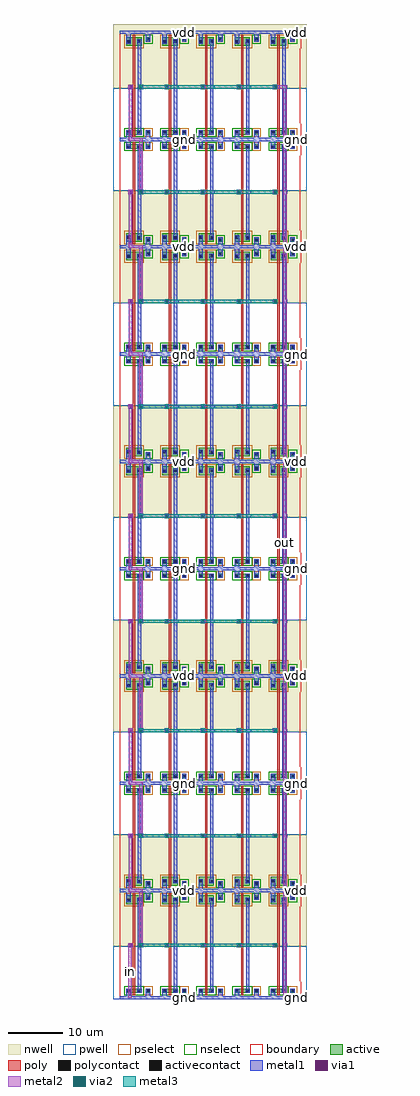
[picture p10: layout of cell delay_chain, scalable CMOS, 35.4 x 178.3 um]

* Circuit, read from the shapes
.subckt delay_chain gnd in out vdd
M1 pinv_12_1/A in gnd gnd nfet w=0.8u l=0.4u
M2 pinv_12_10/A pinv_12_1/A gnd gnd nfet w=0.8u l=0.4u
M3 pinv_12_11/A pinv_12_10/A gnd gnd nfet w=0.8u l=0.4u
M4 pinv_12_16/A pinv_12_11/A gnd gnd nfet w=0.8u l=0.4u
M5 pinv_12_21/A pinv_12_16/A gnd gnd nfet w=0.8u l=0.4u
M6 pinv_12_26/A pinv_12_21/A gnd gnd nfet w=0.8u l=0.4u
M7 pinv_12_31/A pinv_12_26/A gnd gnd nfet w=0.8u l=0.4u
M8 pinv_12_36/A pinv_12_31/A gnd gnd nfet w=0.8u l=0.4u
M9 out pinv_12_36/A gnd gnd nfet w=0.8u l=0.4u
M10 pinv_12_1/Z pinv_12_1/A gnd gnd nfet w=0.8u l=0.4u
M11 pinv_12_6/Z pinv_12_10/A gnd gnd nfet w=0.8u l=0.4u
M12 pinv_12_11/Z pinv_12_11/A gnd gnd nfet w=0.8u l=0.4u
M13 pinv_12_16/Z pinv_12_16/A gnd gnd nfet w=0.8u l=0.4u
M14 pinv_12_21/Z pinv_12_21/A gnd gnd nfet w=0.8u l=0.4u
M15 pinv_12_26/Z pinv_12_26/A gnd gnd nfet w=0.8u l=0.4u
M16 pinv_12_31/Z pinv_12_31/A gnd gnd nfet w=0.8u l=0.4u
M17 pinv_12_36/Z pinv_12_36/A gnd gnd nfet w=0.8u l=0.4u
M18 pinv_12_41/Z out gnd gnd nfet w=0.8u l=0.4u
M19 pinv_12_2/Z pinv_12_1/A gnd gnd nfet w=0.8u l=0.4u
M20 pinv_12_7/Z pinv_12_10/A gnd gnd nfet w=0.8u l=0.4u
M21 pinv_12_12/Z pinv_12_11/A gnd gnd nfet w=0.8u l=0.4u
M22 pinv_12_17/Z pinv_12_16/A gnd gnd nfet w=0.8u l=0.4u
M23 pinv_12_22/Z pinv_12_21/A gnd gnd nfet w=0.8u l=0.4u
M24 pinv_12_27/Z pinv_12_26/A gnd gnd nfet w=0.8u l=0.4u
M25 pinv_12_32/Z pinv_12_31/A gnd gnd nfet w=0.8u l=0.4u
M26 pinv_12_37/Z pinv_12_36/A gnd gnd nfet w=0.8u l=0.4u
M27 pinv_12_42/Z out gnd gnd nfet w=0.8u l=0.4u
M28 pinv_12_3/Z pinv_12_1/A gnd gnd nfet w=0.8u l=0.4u
M29 pinv_12_8/Z pinv_12_10/A gnd gnd nfet w=0.8u l=0.4u
M30 pinv_12_13/Z pinv_12_11/A gnd gnd nfet w=0.8u l=0.4u
M31 pinv_12_18/Z pinv_12_16/A gnd gnd nfet w=0.8u l=0.4u
M32 pinv_12_23/Z pinv_12_21/A gnd gnd nfet w=0.8u l=0.4u
M33 pinv_12_28/Z pinv_12_26/A gnd gnd nfet w=0.8u l=0.4u
M34 pinv_12_33/Z pinv_12_31/A gnd gnd nfet w=0.8u l=0.4u
M35 pinv_12_38/Z pinv_12_36/A gnd gnd nfet w=0.8u l=0.4u
M36 pinv_12_43/Z out gnd gnd nfet w=0.8u l=0.4u
M37 pinv_12_4/Z pinv_12_1/A gnd gnd nfet w=0.8u l=0.4u
M38 pinv_12_9/Z pinv_12_10/A gnd gnd nfet w=0.8u l=0.4u
M39 pinv_12_14/Z pinv_12_11/A gnd gnd nfet w=0.8u l=0.4u
M40 pinv_12_19/Z pinv_12_16/A gnd gnd nfet w=0.8u l=0.4u
M41 pinv_12_24/Z pinv_12_21/A gnd gnd nfet w=0.8u l=0.4u
M42 pinv_12_29/Z pinv_12_26/A gnd gnd nfet w=0.8u l=0.4u
M43 pinv_12_34/Z pinv_12_31/A gnd gnd nfet w=0.8u l=0.4u
M44 pinv_12_39/Z pinv_12_36/A gnd gnd nfet w=0.8u l=0.4u
M45 pinv_12_44/Z out gnd gnd nfet w=0.8u l=0.4u
M46 pinv_12_1/A in vdd vdd pfet w=1.6u l=0.4u
M47 pinv_12_10/A pinv_12_1/A vdd vdd pfet w=1.6u l=0.4u
M48 pinv_12_11/A pinv_12_10/A vdd vdd pfet w=1.6u l=0.4u
M49 pinv_12_16/A pinv_12_11/A vdd vdd pfet w=1.6u l=0.4u
M50 pinv_12_21/A pinv_12_16/A vdd vdd pfet w=1.6u l=0.4u
M51 pinv_12_26/A pinv_12_21/A vdd vdd pfet w=1.6u l=0.4u
M52 pinv_12_31/A pinv_12_26/A vdd vdd pfet w=1.6u l=0.4u
M53 pinv_12_36/A pinv_12_31/A vdd vdd pfet w=1.6u l=0.4u
M54 out pinv_12_36/A vdd vdd pfet w=1.6u l=0.4u
M55 pinv_12_1/Z pinv_12_1/A vdd vdd pfet w=1.6u l=0.4u
M56 pinv_12_6/Z pinv_12_10/A vdd vdd pfet w=1.6u l=0.4u
M57 pinv_12_11/Z pinv_12_11/A vdd vdd pfet w=1.6u l=0.4u
M58 pinv_12_16/Z pinv_12_16/A vdd vdd pfet w=1.6u l=0.4u
M59 pinv_12_21/Z pinv_12_21/A vdd vdd pfet w=1.6u l=0.4u
M60 pinv_12_26/Z pinv_12_26/A vdd vdd pfet w=1.6u l=0.4u
M61 pinv_12_31/Z pinv_12_31/A vdd vdd pfet w=1.6u l=0.4u
M62 pinv_12_36/Z pinv_12_36/A vdd vdd pfet w=1.6u l=0.4u
M63 pinv_12_41/Z out vdd vdd pfet w=1.6u l=0.4u
M64 pinv_12_2/Z pinv_12_1/A vdd vdd pfet w=1.6u l=0.4u
M65 pinv_12_7/Z pinv_12_10/A vdd vdd pfet w=1.6u l=0.4u
M66 pinv_12_12/Z pinv_12_11/A vdd vdd pfet w=1.6u l=0.4u
M67 pinv_12_17/Z pinv_12_16/A vdd vdd pfet w=1.6u l=0.4u
M68 pinv_12_22/Z pinv_12_21/A vdd vdd pfet w=1.6u l=0.4u
M69 pinv_12_27/Z pinv_12_26/A vdd vdd pfet w=1.6u l=0.4u
M70 pinv_12_32/Z pinv_12_31/A vdd vdd pfet w=1.6u l=0.4u
M71 pinv_12_37/Z pinv_12_36/A vdd vdd pfet w=1.6u l=0.4u
M72 pinv_12_42/Z out vdd vdd pfet w=1.6u l=0.4u
M73 pinv_12_3/Z pinv_12_1/A vdd vdd pfet w=1.6u l=0.4u
M74 pinv_12_8/Z pinv_12_10/A vdd vdd pfet w=1.6u l=0.4u
M75 pinv_12_13/Z pinv_12_11/A vdd vdd pfet w=1.6u l=0.4u
M76 pinv_12_18/Z pinv_12_16/A vdd vdd pfet w=1.6u l=0.4u
M77 pinv_12_23/Z pinv_12_21/A vdd vdd pfet w=1.6u l=0.4u
M78 pinv_12_28/Z pinv_12_26/A vdd vdd pfet w=1.6u l=0.4u
M79 pinv_12_33/Z pinv_12_31/A vdd vdd pfet w=1.6u l=0.4u
M80 pinv_12_38/Z pinv_12_36/A vdd vdd pfet w=1.6u l=0.4u
M81 pinv_12_43/Z out vdd vdd pfet w=1.6u l=0.4u
M82 pinv_12_4/Z pinv_12_1/A vdd vdd pfet w=1.6u l=0.4u
M83 pinv_12_9/Z pinv_12_10/A vdd vdd pfet w=1.6u l=0.4u
M84 pinv_12_14/Z pinv_12_11/A vdd vdd pfet w=1.6u l=0.4u
M85 pinv_12_19/Z pinv_12_16/A vdd vdd pfet w=1.6u l=0.4u
M86 pinv_12_24/Z pinv_12_21/A vdd vdd pfet w=1.6u l=0.4u
M87 pinv_12_29/Z pinv_12_26/A vdd vdd pfet w=1.6u l=0.4u
M88 pinv_12_34/Z pinv_12_31/A vdd vdd pfet w=1.6u l=0.4u
M89 pinv_12_39/Z pinv_12_36/A vdd vdd pfet w=1.6u l=0.4u
M90 pinv_12_44/Z out vdd vdd pfet w=1.6u l=0.4u
.ends

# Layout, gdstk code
import gdstk
lib = gdstk.Library(unit=1e-6, precision=1e-09)
def R(c, l, rs):  # rectangles x0, y0, x1, y1
    for r in rs: c.add(gdstk.rectangle(r[:2], r[2:], *l))
def A(c, l, x, y, w, h, nx, ny, dx, dy):  # array of equal rectangles
    R(c, l, [(x+i*dx, y+j*dy, x+i*dx+w, y+j*dy+h) for i in range(nx) for j in range(ny)])
pwell = (41, 0)
nwell = (42, 0)
active = (43, 0)
pselect = (44, 0)
nselect = (45, 0)
poly = (46, 0)
polycontact = (47, 0)
activecontact = (48, 0)
metal1 = (49, 0)
via1 = (50, 0)
metal2 = (51, 0)
via2 = (61, 0)
metal3 = (62, 0)
boundary = (63, 0)

contact_9 = lib.new_cell('contact_9')
R(contact_9, nwell, [(-1.2,-1.2,2,2)])
R(contact_9, active, [(0,0,0.8,0.8)])
R(contact_9, pselect, [(-0.4,-0.4,1.2,1.2)])
R(contact_9, activecontact, [(0.2,0.2,0.6,0.6)])
R(contact_9, metal1, [(0,0,0.8,0.8)])
R(contact_9, boundary, [(-1.2,-1.2,2,2)])

pmos_m1_w1_600_sm1_dm1_d = lib.new_cell('pmos_m1_w1_600_sm1_dm1_da_p')
R(pmos_m1_w1_600_sm1_dm1_d, nwell, [(-1.2,-1.2,4,2.8)])
R(pmos_m1_w1_600_sm1_dm1_d, active, [(0,0,2.8,1.6)])
R(pmos_m1_w1_600_sm1_dm1_d, pselect, [(-0.4,-0.4,3.2,2)])
R(pmos_m1_w1_600_sm1_dm1_d, poly, [(1.2,-0.4,1.6,2), (1.2,-0.4,1.6,2)])
R(pmos_m1_w1_600_sm1_dm1_d, metal1, [(0,0.4,0.8,1.2), (2,0.4,2.8,1.2)])
R(pmos_m1_w1_600_sm1_dm1_d, boundary, [(-1.2,-1.2,4,2.8)])
pmos_m1_w1_600_sm1_dm1_d.add(gdstk.Reference(contact_9, (0,0.4)))
pmos_m1_w1_600_sm1_dm1_d.add(gdstk.Reference(contact_9, (2,0.4)))
pmos_m1_w1_600_sm1_dm1_d.add(gdstk.Label('G', (1.4,0.8), layer=46, texttype=0))
pmos_m1_w1_600_sm1_dm1_d.add(gdstk.Label('S', (0.4,0.8), layer=49, texttype=0))
pmos_m1_w1_600_sm1_dm1_d.add(gdstk.Label('D', (2.4,0.8), layer=49, texttype=0))

contact_14 = lib.new_cell('contact_14')
R(contact_14, pwell, [(-1.2,-1.2,2,2)])
R(contact_14, active, [(0,0,0.8,0.8)])
R(contact_14, nselect, [(-0.4,-0.4,1.2,1.2)])
R(contact_14, activecontact, [(0.2,0.2,0.6,0.6)])
R(contact_14, metal1, [(0,0,0.8,0.8)])
R(contact_14, boundary, [(-1.2,-1.2,2,2)])

nmos_m1_w0_800_sm1_dm1_d = lib.new_cell('nmos_m1_w0_800_sm1_dm1_da_p')
R(nmos_m1_w0_800_sm1_dm1_d, pwell, [(-1.2,-1.2,4,2)])
R(nmos_m1_w0_800_sm1_dm1_d, active, [(0,0,2.8,0.8)])
R(nmos_m1_w0_800_sm1_dm1_d, nselect, [(-0.4,-0.4,3.2,1.2)])
R(nmos_m1_w0_800_sm1_dm1_d, poly, [(1.2,-0.4,1.6,1.2), (1.2,-0.4,1.6,1.2)])
R(nmos_m1_w0_800_sm1_dm1_d, metal1, [(0,0,0.8,0.8), (2,0,2.8,0.8)])
R(nmos_m1_w0_800_sm1_dm1_d, boundary, [(-1.2,-1.2,4,2)])
nmos_m1_w0_800_sm1_dm1_d.add(gdstk.Reference(contact_14, (0,0)))
nmos_m1_w0_800_sm1_dm1_d.add(gdstk.Reference(contact_14, (2,0)))
nmos_m1_w0_800_sm1_dm1_d.add(gdstk.Label('G', (1.4,0.4), layer=46, texttype=0))
nmos_m1_w0_800_sm1_dm1_d.add(gdstk.Label('S', (0.4,0.4), layer=49, texttype=0))
nmos_m1_w0_800_sm1_dm1_d.add(gdstk.Label('D', (2.4,0.4), layer=49, texttype=0))

contact_15 = lib.new_cell('contact_15')
R(contact_15, nwell, [(-1.2,-1.2,2,2)])
R(contact_15, active, [(0,0,0.8,0.8)])
R(contact_15, nselect, [(-0.4,-0.4,1.2,1.2)])
R(contact_15, activecontact, [(0.2,0.2,0.6,0.6)])
R(contact_15, metal1, [(0,0,0.8,0.8)])
R(contact_15, boundary, [(-1.2,-1.2,2,2)])

contact_16 = lib.new_cell('contact_16')
R(contact_16, pwell, [(-1.2,-1.2,2,2)])
R(contact_16, active, [(0,0,0.8,0.8)])
R(contact_16, pselect, [(-0.4,-0.4,1.2,1.2)])
R(contact_16, activecontact, [(0.2,0.2,0.6,0.6)])
R(contact_16, metal1, [(0,0,0.8,0.8)])
R(contact_16, boundary, [(-1.2,-1.2,2,2)])

contact_10 = lib.new_cell('contact_10')
R(contact_10, poly, [(0,0,0.8,0.8)])
R(contact_10, polycontact, [(0.2,0.2,0.6,0.6)])
R(contact_10, metal1, [(0,0,0.8,0.8)])
R(contact_10, boundary, [(0,0,0.8,0.8)])

pinv_12 = lib.new_cell('pinv_12')
R(pinv_12, pwell, [(-1.2,-0.3,7.8,9.4)])
R(pinv_12, nwell, [(-1.2,9.4,7.8,21.1)])
R(pinv_12, poly, [(2.4,2.1,2.8,16.7), (2,9.2,2.4,10)])
R(pinv_12, metal1, [(0,-0.3,6.6,0.3), (1.2,-0.3,2,0.9), (4.8,0,5.6,1.3), (3.3,0.9,3.9,18.3), (1.6,9.2,2.4,10), (3.6,9.3,4.2,9.9), (1.2,17.5,2,19.9), (4.8,18.3,5.6,19.6), (0,19.3,6.6,19.9)])
R(pinv_12, boundary, [(0,0,6.6,19.6), (0,0,6.6,19.6)])
pinv_12.add(gdstk.Reference(pmos_m1_w1_600_sm1_dm1_d, (1.2,17.1)))
pinv_12.add(gdstk.Reference(nmos_m1_w0_800_sm1_dm1_d, (1.2,0.9)))
pinv_12.add(gdstk.Reference(contact_15, (4.8,17.9)))
pinv_12.add(gdstk.Reference(contact_16, (4.8,0.9)))
pinv_12.add(gdstk.Reference(contact_10, (1.6,9.2)))
pinv_12.add(gdstk.Label('A', (2,9.6), layer=49, texttype=0))
pinv_12.add(gdstk.Label('Z', (3.9,9.6), layer=49, texttype=0))
pinv_12.add(gdstk.Label('gnd', (3.3,0), layer=49, texttype=0))
pinv_12.add(gdstk.Label('vdd', (3.3,19.6), layer=49, texttype=0))

contact_6 = lib.new_cell('contact_6')
R(contact_6, metal1, [(0,0,0.8,0.8)])
R(contact_6, via1, [(0.2,0.2,0.6,0.6)])
R(contact_6, metal2, [(0,0,0.8,0.8)])
R(contact_6, boundary, [(0,0,0.8,0.8)])

contact_7 = lib.new_cell('contact_7')
R(contact_7, metal2, [(0,0,0.8,0.8)])
R(contact_7, via2, [(0.2,0.2,0.6,0.6)])
R(contact_7, metal3, [(0,0,0.8,0.8)])
R(contact_7, boundary, [(0,0,0.8,0.8)])

delay_chain = lib.new_cell('delay_chain')
A(delay_chain, metal2, 3.6, 9.6, 0.6, 10, 1, 4, 0, 39.2)
A(delay_chain, metal2, 1.7, 19.3, 0.6, 0.6, 1, 8, 0, 19.6)
A(delay_chain, metal2, 2, 19.3, 1.9, 0.6, 1, 8, 0, 19.6)
A(delay_chain, metal2, 3.6, 19.3, 0.6, 0.6, 1, 8, 0, 19.6)
A(delay_chain, metal2, 1.7, 19.6, 0.6, 10, 1, 4, 0, 39.2)
A(delay_chain, metal2, 3.6, 29.6, 0.6, 9.6, 1, 4, 0, 39.2)
A(delay_chain, metal2, 1.7, 39.2, 0.6, 9.6, 1, 4, 0, 39.2)
R(delay_chain, metal2, [(1.6,0,2.2,9.6), (29.9,0,30.5,166.4), (29.9,0,30.5,166.4), (28.4,166.1,30.2,166.7), (29.9,166.1,30.5,166.7)])
A(delay_chain, metal3, 11.4, -0.4, 0.8, 0.8, 1, 10, 0, 19.6)
A(delay_chain, metal3, 31.9, -0.4, 0.8, 0.8, 1, 10, 0, 19.6)
R(delay_chain, metal3, [(3.9,9.3,28.4,9.9), (3.9,29.3,28.4,29.9), (3.9,48.5,28.4,49.1), (3.9,68.5,28.4,69.1), (3.9,87.7,28.4,88.3), (3.9,107.7,28.4,108.3), (3.9,126.9,28.4,127.5), (3.9,146.9,28.4,147.5), (3.9,166.1,28.4,166.7)])
R(delay_chain, boundary, [(0,0,33,176.4)])
delay_chain.add(gdstk.Reference(pinv_12, (0,0)))
delay_chain.add(gdstk.Reference(pinv_12, (6.6,0)))
delay_chain.add(gdstk.Reference(pinv_12, (13.2,0)))
delay_chain.add(gdstk.Reference(pinv_12, (19.8,0)))
delay_chain.add(gdstk.Reference(pinv_12, (26.4,0)))
delay_chain.add(gdstk.Reference(pinv_12, (0,39.2), x_reflection=True))
delay_chain.add(gdstk.Reference(pinv_12, (6.6,39.2), x_reflection=True))
delay_chain.add(gdstk.Reference(pinv_12, (13.2,39.2), x_reflection=True))
delay_chain.add(gdstk.Reference(pinv_12, (19.8,39.2), x_reflection=True))
delay_chain.add(gdstk.Reference(pinv_12, (26.4,39.2), x_reflection=True))
delay_chain.add(gdstk.Reference(pinv_12, (0,39.2)))
delay_chain.add(gdstk.Reference(pinv_12, (6.6,39.2)))
delay_chain.add(gdstk.Reference(pinv_12, (13.2,39.2)))
delay_chain.add(gdstk.Reference(pinv_12, (19.8,39.2)))
delay_chain.add(gdstk.Reference(pinv_12, (26.4,39.2)))
delay_chain.add(gdstk.Reference(pinv_12, (0,78.4), x_reflection=True))
delay_chain.add(gdstk.Reference(pinv_12, (6.6,78.4), x_reflection=True))
delay_chain.add(gdstk.Reference(pinv_12, (13.2,78.4), x_reflection=True))
delay_chain.add(gdstk.Reference(pinv_12, (19.8,78.4), x_reflection=True))
delay_chain.add(gdstk.Reference(pinv_12, (26.4,78.4), x_reflection=True))
delay_chain.add(gdstk.Reference(pinv_12, (0,78.4)))
delay_chain.add(gdstk.Reference(pinv_12, (6.6,78.4)))
delay_chain.add(gdstk.Reference(pinv_12, (13.2,78.4)))
delay_chain.add(gdstk.Reference(pinv_12, (19.8,78.4)))
delay_chain.add(gdstk.Reference(pinv_12, (26.4,78.4)))
delay_chain.add(gdstk.Reference(pinv_12, (0,117.6), x_reflection=True))
delay_chain.add(gdstk.Reference(pinv_12, (6.6,117.6), x_reflection=True))
delay_chain.add(gdstk.Reference(pinv_12, (13.2,117.6), x_reflection=True))
delay_chain.add(gdstk.Reference(pinv_12, (19.8,117.6), x_reflection=True))
delay_chain.add(gdstk.Reference(pinv_12, (26.4,117.6), x_reflection=True))
delay_chain.add(gdstk.Reference(pinv_12, (0,117.6)))
delay_chain.add(gdstk.Reference(pinv_12, (6.6,117.6)))
delay_chain.add(gdstk.Reference(pinv_12, (13.2,117.6)))
delay_chain.add(gdstk.Reference(pinv_12, (19.8,117.6)))
delay_chain.add(gdstk.Reference(pinv_12, (26.4,117.6)))
delay_chain.add(gdstk.Reference(pinv_12, (0,156.8), x_reflection=True))
delay_chain.add(gdstk.Reference(pinv_12, (6.6,156.8), x_reflection=True))
delay_chain.add(gdstk.Reference(pinv_12, (13.2,156.8), x_reflection=True))
delay_chain.add(gdstk.Reference(pinv_12, (19.8,156.8), x_reflection=True))
delay_chain.add(gdstk.Reference(pinv_12, (26.4,156.8), x_reflection=True))
delay_chain.add(gdstk.Reference(pinv_12, (0,156.8)))
delay_chain.add(gdstk.Reference(pinv_12, (6.6,156.8)))
delay_chain.add(gdstk.Reference(pinv_12, (13.2,156.8)))
delay_chain.add(gdstk.Reference(pinv_12, (19.8,156.8)))
delay_chain.add(gdstk.Reference(pinv_12, (26.4,156.8)))
delay_chain.add(gdstk.Reference(contact_6, (8.2,9.2)))
delay_chain.add(gdstk.Reference(contact_7, (8.2,9.2)))
delay_chain.add(gdstk.Reference(contact_6, (14.8,9.2)))
delay_chain.add(gdstk.Reference(contact_7, (14.8,9.2)))
delay_chain.add(gdstk.Reference(contact_6, (21.4,9.2)))
delay_chain.add(gdstk.Reference(contact_7, (21.4,9.2)))
delay_chain.add(gdstk.Reference(contact_6, (28,9.2)))
delay_chain.add(gdstk.Reference(contact_7, (28,9.2)))
delay_chain.add(gdstk.Reference(contact_6, (1.6,9.2)))
delay_chain.add(gdstk.Reference(contact_6, (3.5,9.2)))
delay_chain.add(gdstk.Reference(contact_7, (3.5,9.2)))
delay_chain.add(gdstk.Reference(contact_6, (8.2,29.2)))
delay_chain.add(gdstk.Reference(contact_7, (8.2,29.2)))
delay_chain.add(gdstk.Reference(contact_6, (14.8,29.2)))
delay_chain.add(gdstk.Reference(contact_7, (14.8,29.2)))
delay_chain.add(gdstk.Reference(contact_6, (21.4,29.2)))
delay_chain.add(gdstk.Reference(contact_7, (21.4,29.2)))
delay_chain.add(gdstk.Reference(contact_6, (28,29.2)))
delay_chain.add(gdstk.Reference(contact_7, (28,29.2)))
delay_chain.add(gdstk.Reference(contact_6, (1.6,29.2)))
delay_chain.add(gdstk.Reference(contact_6, (3.5,29.2)))
delay_chain.add(gdstk.Reference(contact_7, (3.5,29.2)))
delay_chain.add(gdstk.Reference(contact_6, (8.2,48.4)))
delay_chain.add(gdstk.Reference(contact_7, (8.2,48.4)))
delay_chain.add(gdstk.Reference(contact_6, (14.8,48.4)))
delay_chain.add(gdstk.Reference(contact_7, (14.8,48.4)))
delay_chain.add(gdstk.Reference(contact_6, (21.4,48.4)))
delay_chain.add(gdstk.Reference(contact_7, (21.4,48.4)))
delay_chain.add(gdstk.Reference(contact_6, (28,48.4)))
delay_chain.add(gdstk.Reference(contact_7, (28,48.4)))
delay_chain.add(gdstk.Reference(contact_6, (1.6,48.4)))
delay_chain.add(gdstk.Reference(contact_6, (3.5,48.4)))
delay_chain.add(gdstk.Reference(contact_7, (3.5,48.4)))
delay_chain.add(gdstk.Reference(contact_6, (8.2,68.4)))
delay_chain.add(gdstk.Reference(contact_7, (8.2,68.4)))
delay_chain.add(gdstk.Reference(contact_6, (14.8,68.4)))
delay_chain.add(gdstk.Reference(contact_7, (14.8,68.4)))
delay_chain.add(gdstk.Reference(contact_6, (21.4,68.4)))
delay_chain.add(gdstk.Reference(contact_7, (21.4,68.4)))
delay_chain.add(gdstk.Reference(contact_6, (28,68.4)))
delay_chain.add(gdstk.Reference(contact_7, (28,68.4)))
delay_chain.add(gdstk.Reference(contact_6, (1.6,68.4)))
delay_chain.add(gdstk.Reference(contact_6, (3.5,68.4)))
delay_chain.add(gdstk.Reference(contact_7, (3.5,68.4)))
delay_chain.add(gdstk.Reference(contact_6, (8.2,87.6)))
delay_chain.add(gdstk.Reference(contact_7, (8.2,87.6)))
delay_chain.add(gdstk.Reference(contact_6, (14.8,87.6)))
delay_chain.add(gdstk.Reference(contact_7, (14.8,87.6)))
delay_chain.add(gdstk.Reference(contact_6, (21.4,87.6)))
delay_chain.add(gdstk.Reference(contact_7, (21.4,87.6)))
delay_chain.add(gdstk.Reference(contact_6, (28,87.6)))
delay_chain.add(gdstk.Reference(contact_7, (28,87.6)))
delay_chain.add(gdstk.Reference(contact_6, (1.6,87.6)))
delay_chain.add(gdstk.Reference(contact_6, (3.5,87.6)))
delay_chain.add(gdstk.Reference(contact_7, (3.5,87.6)))
delay_chain.add(gdstk.Reference(contact_6, (8.2,107.6)))
delay_chain.add(gdstk.Reference(contact_7, (8.2,107.6)))
delay_chain.add(gdstk.Reference(contact_6, (14.8,107.6)))
delay_chain.add(gdstk.Reference(contact_7, (14.8,107.6)))
delay_chain.add(gdstk.Reference(contact_6, (21.4,107.6)))
delay_chain.add(gdstk.Reference(contact_7, (21.4,107.6)))
delay_chain.add(gdstk.Reference(contact_6, (28,107.6)))
delay_chain.add(gdstk.Reference(contact_7, (28,107.6)))
delay_chain.add(gdstk.Reference(contact_6, (1.6,107.6)))
delay_chain.add(gdstk.Reference(contact_6, (3.5,107.6)))
delay_chain.add(gdstk.Reference(contact_7, (3.5,107.6)))
delay_chain.add(gdstk.Reference(contact_6, (8.2,126.8)))
delay_chain.add(gdstk.Reference(contact_7, (8.2,126.8)))
delay_chain.add(gdstk.Reference(contact_6, (14.8,126.8)))
delay_chain.add(gdstk.Reference(contact_7, (14.8,126.8)))
delay_chain.add(gdstk.Reference(contact_6, (21.4,126.8)))
delay_chain.add(gdstk.Reference(contact_7, (21.4,126.8)))
delay_chain.add(gdstk.Reference(contact_6, (28,126.8)))
delay_chain.add(gdstk.Reference(contact_7, (28,126.8)))
delay_chain.add(gdstk.Reference(contact_6, (1.6,126.8)))
delay_chain.add(gdstk.Reference(contact_6, (3.5,126.8)))
delay_chain.add(gdstk.Reference(contact_7, (3.5,126.8)))
delay_chain.add(gdstk.Reference(contact_6, (8.2,146.8)))
delay_chain.add(gdstk.Reference(contact_7, (8.2,146.8)))
delay_chain.add(gdstk.Reference(contact_6, (14.8,146.8)))
delay_chain.add(gdstk.Reference(contact_7, (14.8,146.8)))
delay_chain.add(gdstk.Reference(contact_6, (21.4,146.8)))
delay_chain.add(gdstk.Reference(contact_7, (21.4,146.8)))
delay_chain.add(gdstk.Reference(contact_6, (28,146.8)))
delay_chain.add(gdstk.Reference(contact_7, (28,146.8)))
delay_chain.add(gdstk.Reference(contact_6, (1.6,146.8)))
delay_chain.add(gdstk.Reference(contact_6, (3.5,146.8)))
delay_chain.add(gdstk.Reference(contact_7, (3.5,146.8)))
delay_chain.add(gdstk.Reference(contact_6, (8.2,166)))
delay_chain.add(gdstk.Reference(contact_7, (8.2,166)))
delay_chain.add(gdstk.Reference(contact_6, (14.8,166)))
delay_chain.add(gdstk.Reference(contact_7, (14.8,166)))
delay_chain.add(gdstk.Reference(contact_6, (21.4,166)))
delay_chain.add(gdstk.Reference(contact_7, (21.4,166)))
delay_chain.add(gdstk.Reference(contact_6, (28,166)))
delay_chain.add(gdstk.Reference(contact_7, (28,166)))
delay_chain.add(gdstk.Reference(contact_6, (1.6,166)))
delay_chain.add(gdstk.Reference(contact_6, (3.5,166)))
delay_chain.add(gdstk.Reference(contact_7, (3.5,166)))
delay_chain.add(gdstk.Reference(contact_6, (11.4,19.2)))
delay_chain.add(gdstk.Reference(contact_7, (11.4,19.2)))
delay_chain.add(gdstk.Reference(contact_6, (31.9,19.2)))
delay_chain.add(gdstk.Reference(contact_7, (31.9,19.2)))
delay_chain.add(gdstk.Reference(contact_6, (11.4,-0.4)))
delay_chain.add(gdstk.Reference(contact_7, (11.4,-0.4)))
delay_chain.add(gdstk.Reference(contact_6, (31.9,-0.4)))
delay_chain.add(gdstk.Reference(contact_7, (31.9,-0.4)))
delay_chain.add(gdstk.Reference(contact_6, (11.4,19.2)))
delay_chain.add(gdstk.Reference(contact_7, (11.4,19.2)))
delay_chain.add(gdstk.Reference(contact_6, (31.9,19.2)))
delay_chain.add(gdstk.Reference(contact_7, (31.9,19.2)))
delay_chain.add(gdstk.Reference(contact_6, (11.4,38.8)))
delay_chain.add(gdstk.Reference(contact_7, (11.4,38.8)))
delay_chain.add(gdstk.Reference(contact_6, (31.9,38.8)))
delay_chain.add(gdstk.Reference(contact_7, (31.9,38.8)))
delay_chain.add(gdstk.Reference(contact_6, (11.4,58.4)))
delay_chain.add(gdstk.Reference(contact_7, (11.4,58.4)))
delay_chain.add(gdstk.Reference(contact_6, (31.9,58.4)))
delay_chain.add(gdstk.Reference(contact_7, (31.9,58.4)))
delay_chain.add(gdstk.Reference(contact_6, (11.4,38.8)))
delay_chain.add(gdstk.Reference(contact_7, (11.4,38.8)))
delay_chain.add(gdstk.Reference(contact_6, (31.9,38.8)))
delay_chain.add(gdstk.Reference(contact_7, (31.9,38.8)))
delay_chain.add(gdstk.Reference(contact_6, (11.4,58.4)))
delay_chain.add(gdstk.Reference(contact_7, (11.4,58.4)))
delay_chain.add(gdstk.Reference(contact_6, (31.9,58.4)))
delay_chain.add(gdstk.Reference(contact_7, (31.9,58.4)))
delay_chain.add(gdstk.Reference(contact_6, (11.4,78)))
delay_chain.add(gdstk.Reference(contact_7, (11.4,78)))
delay_chain.add(gdstk.Reference(contact_6, (31.9,78)))
delay_chain.add(gdstk.Reference(contact_7, (31.9,78)))
delay_chain.add(gdstk.Reference(contact_6, (11.4,97.6)))
delay_chain.add(gdstk.Reference(contact_7, (11.4,97.6)))
delay_chain.add(gdstk.Reference(contact_6, (31.9,97.6)))
delay_chain.add(gdstk.Reference(contact_7, (31.9,97.6)))
delay_chain.add(gdstk.Reference(contact_6, (11.4,78)))
delay_chain.add(gdstk.Reference(contact_7, (11.4,78)))
delay_chain.add(gdstk.Reference(contact_6, (31.9,78)))
delay_chain.add(gdstk.Reference(contact_7, (31.9,78)))
delay_chain.add(gdstk.Reference(contact_6, (11.4,97.6)))
delay_chain.add(gdstk.Reference(contact_7, (11.4,97.6)))
delay_chain.add(gdstk.Reference(contact_6, (31.9,97.6)))
delay_chain.add(gdstk.Reference(contact_7, (31.9,97.6)))
delay_chain.add(gdstk.Reference(contact_6, (11.4,117.2)))
delay_chain.add(gdstk.Reference(contact_7, (11.4,117.2)))
delay_chain.add(gdstk.Reference(contact_6, (31.9,117.2)))
delay_chain.add(gdstk.Reference(contact_7, (31.9,117.2)))
delay_chain.add(gdstk.Reference(contact_6, (11.4,136.8)))
delay_chain.add(gdstk.Reference(contact_7, (11.4,136.8)))
delay_chain.add(gdstk.Reference(contact_6, (31.9,136.8)))
delay_chain.add(gdstk.Reference(contact_7, (31.9,136.8)))
delay_chain.add(gdstk.Reference(contact_6, (11.4,117.2)))
delay_chain.add(gdstk.Reference(contact_7, (11.4,117.2)))
delay_chain.add(gdstk.Reference(contact_6, (31.9,117.2)))
delay_chain.add(gdstk.Reference(contact_7, (31.9,117.2)))
delay_chain.add(gdstk.Reference(contact_6, (11.4,136.8)))
delay_chain.add(gdstk.Reference(contact_7, (11.4,136.8)))
delay_chain.add(gdstk.Reference(contact_6, (31.9,136.8)))
delay_chain.add(gdstk.Reference(contact_7, (31.9,136.8)))
delay_chain.add(gdstk.Reference(contact_6, (11.4,156.4)))
delay_chain.add(gdstk.Reference(contact_7, (11.4,156.4)))
delay_chain.add(gdstk.Reference(contact_6, (31.9,156.4)))
delay_chain.add(gdstk.Reference(contact_7, (31.9,156.4)))
delay_chain.add(gdstk.Reference(contact_6, (11.4,176)))
delay_chain.add(gdstk.Reference(contact_7, (11.4,176)))
delay_chain.add(gdstk.Reference(contact_6, (31.9,176)))
delay_chain.add(gdstk.Reference(contact_7, (31.9,176)))
delay_chain.add(gdstk.Reference(contact_6, (11.4,156.4)))
delay_chain.add(gdstk.Reference(contact_7, (11.4,156.4)))
delay_chain.add(gdstk.Reference(contact_6, (31.9,156.4)))
delay_chain.add(gdstk.Reference(contact_7, (31.9,156.4)))
delay_chain.add(gdstk.Reference(contact_6, (1.6,9.2)))
delay_chain.add(gdstk.Reference(contact_6, (28,166)))
delay_chain.add(gdstk.Label('vdd', (32.3,176.4), layer=62, texttype=0))
delay_chain.add(gdstk.Label('vdd', (11.8,98), layer=62, texttype=0))
delay_chain.add(gdstk.Label('vdd', (11.8,58.8), layer=62, texttype=0))
delay_chain.add(gdstk.Label('vdd', (32.3,19.6), layer=62, texttype=0))
delay_chain.add(gdstk.Label('vdd', (11.8,137.2), layer=62, texttype=0))
delay_chain.add(gdstk.Label('vdd', (32.3,58.8), layer=62, texttype=0))
delay_chain.add(gdstk.Label('vdd', (32.3,98), layer=62, texttype=0))
delay_chain.add(gdstk.Label('vdd', (11.8,176.4), layer=62, texttype=0))
delay_chain.add(gdstk.Label('vdd', (11.8,19.6), layer=62, texttype=0))
delay_chain.add(gdstk.Label('vdd', (32.3,137.2), layer=62, texttype=0))
delay_chain.add(gdstk.Label('gnd', (11.8,156.8), layer=62, texttype=0))
delay_chain.add(gdstk.Label('gnd', (11.8,39.2), layer=62, texttype=0))
delay_chain.add(gdstk.Label('gnd', (11.8,78.4), layer=62, texttype=0))
delay_chain.add(gdstk.Label('gnd', (11.8,0), layer=62, texttype=0))
delay_chain.add(gdstk.Label('gnd', (32.3,78.4), layer=62, texttype=0))
delay_chain.add(gdstk.Label('gnd', (11.8,117.6), layer=62, texttype=0))
delay_chain.add(gdstk.Label('gnd', (32.3,117.6), layer=62, texttype=0))
delay_chain.add(gdstk.Label('gnd', (32.3,0), layer=62, texttype=0))
delay_chain.add(gdstk.Label('gnd', (32.3,156.8), layer=62, texttype=0))
delay_chain.add(gdstk.Label('gnd', (32.3,39.2), layer=62, texttype=0))
delay_chain.add(gdstk.Label('in', (1.9,4.8), layer=51, texttype=0))
delay_chain.add(gdstk.Label('out', (30.2,83.2), layer=51, texttype=0))

lib.write_gds('delay_chain.gds')
